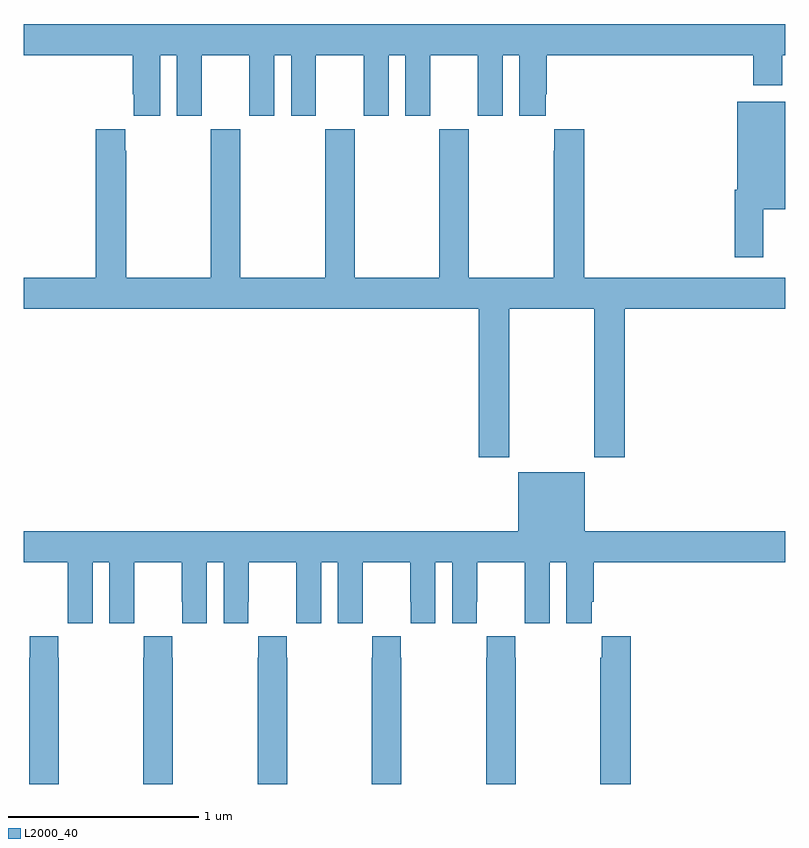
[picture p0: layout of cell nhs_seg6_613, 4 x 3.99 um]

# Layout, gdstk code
import gdstk
lib = gdstk.Library(unit=1e-6, precision=1e-09)
def P(c, l, *ps):  # polygons
    for p in ps: c.add(gdstk.Polygon(p, *l))
L2000_40 = (2000, 40)

nhs_seg6_613 = lib.new_cell('nhs_seg6_613')
P(nhs_seg6_613, L2000_40, [(149.716,955.328),(149.804,955.328),(149.804,955.011),(149.935,955.011),(149.935,955.328),(150.185,955.328),(150.185,955.011),(150.316,955.011),(150.316,955.328),(150.404,955.328),(150.404,955.011),(150.535,955.011),(150.535,955.328),(150.785,955.328),(150.785,955.011),(150.916,955.011),(150.916,955.328),(151.004,955.328),(151.004,955.011),(151.135,955.011),(151.135,955.328),(151.385,955.328),(151.385,955.011),(151.516,955.011),(151.516,955.328),(151.604,955.328),(151.604,955.011),(151.741,955.011),(151.741,955.123),(151.748,955.123),(151.748,955.328),(152.831,955.328),(152.831,955.169),(152.983,955.169),(152.983,955.328),(153,955.328),(153,955.492),(149,955.492),(149,955.328),(149.573,955.328),(149.573,955.123),(149.579,955.123),(149.579,955.011),(149.716,955.011)],
  [(152.884,954.518),(153,954.518),(153,955.084),(152.747,955.084),(152.747,954.622),(152.735,954.622),(152.735,954.267),(152.884,954.267)],
  [(151.183,954.94),(151.183,954.16),(150.738,954.16),(150.738,954.94),(150.583,954.94),(150.583,954.16),(150.138,954.16),(150.138,954.94),(149.983,954.94),(149.983,954.16),(149.538,954.16),(149.538,954.827),(149.533,954.827),(149.533,954.94),(149.378,954.94),(149.378,954.16),(149,954.16),(149,953.996),(151.391,953.996),(151.391,953.217),(151.551,953.217),(151.551,953.996),(151.996,953.996),(151.996,953.217),(152.156,953.217),(152.156,953.996),(153,953.996),(153,954.16),(151.943,954.16),(151.943,954.94),(151.787,954.94),(151.787,954.827),(151.783,954.827),(151.783,954.16),(151.338,954.16),(151.338,954.94)],
  [(149.362,952.664),(149.45,952.664),(149.45,952.344),(149.58,952.344),(149.58,952.456),(149.581,952.456),(149.581,952.664),(149.831,952.664),(149.831,952.456),(149.832,952.456),(149.832,952.344),(149.962,952.344),(149.962,952.664),(150.05,952.664),(150.05,952.344),(150.18,952.344),(150.18,952.456),(150.181,952.456),(150.181,952.664),(150.431,952.664),(150.431,952.456),(150.432,952.456),(150.432,952.344),(150.562,952.344),(150.562,952.664),(150.65,952.664),(150.65,952.344),(150.78,952.344),(150.78,952.456),(150.781,952.456),(150.781,952.664),(151.031,952.664),(151.031,952.456),(151.032,952.456),(151.032,952.344),(151.162,952.344),(151.162,952.664),(151.25,952.664),(151.25,952.344),(151.38,952.344),(151.38,952.456),(151.381,952.456),(151.381,952.664),(151.631,952.664),(151.631,952.456),(151.632,952.456),(151.632,952.344),(151.762,952.344),(151.762,952.664),(151.85,952.664),(151.85,952.344),(151.984,952.344),(151.984,952.456),(151.994,952.456),(151.994,952.664),(153,952.664),(153,952.828),(151.948,952.828),(151.948,953.137),(151.598,953.137),(151.598,952.828),(149,952.828),(149,952.664),(149.231,952.664),(149.231,952.456),(149.232,952.456),(149.232,952.344),(149.362,952.344)],
  [(149.784,952.163),(149.781,952.163),(149.781,952.276),(149.631,952.276),(149.631,952.163),(149.629,952.163),(149.629,951.5),(149.784,951.5)],
  [(150.384,952.163),(150.381,952.163),(150.381,952.276),(150.231,952.276),(150.231,952.163),(150.229,952.163),(150.229,951.5),(150.384,951.5)],
  [(150.984,952.163),(150.981,952.163),(150.981,952.276),(150.831,952.276),(150.831,952.163),(150.829,952.163),(150.829,951.5),(150.984,951.5)],
  [(151.584,952.163),(151.581,952.163),(151.581,952.276),(151.431,952.276),(151.431,952.163),(151.429,952.163),(151.429,951.5),(151.584,951.5)],
  [(152.189,952.276),(152.035,952.276),(152.035,952.163),(152.029,952.163),(152.029,951.5),(152.189,951.5)],
  [(149.184,952.163),(149.181,952.163),(149.181,952.276),(149.031,952.276),(149.031,952.163),(149.029,952.163),(149.029,951.5),(149.184,951.5)])

lib.write_gds('nhs_seg6_613.gds')
